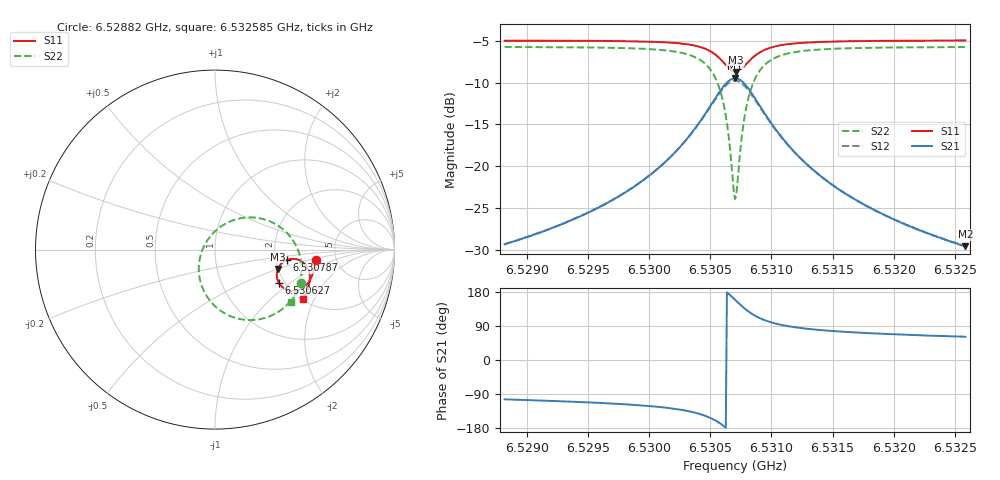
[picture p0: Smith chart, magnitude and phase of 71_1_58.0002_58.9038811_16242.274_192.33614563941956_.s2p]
#  HZ  S  RI  R  50.00
! Rohde & Schwarz Vector Network Analyzer
! Rohde-Schwarz,ZNB20-2Port,1311601062101988,3.16
! Created: UTC 3/21/2024, 12:53:24 AM
! freq[Hz]  re:S11  im:S11  re:S21  im:S21  re:S12  im:S12  re:S22  im:S22
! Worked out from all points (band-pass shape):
!   401 points, 6.52882 GHz to 6.532585 GHz, reference 50 ohm
!   highest |S21| = -9.48 dB at 6.530703 GHz (marker M1); lowest = -29.6 dB at 6.532585 GHz (marker M2)
!   |S21| within 3 dB of the highest: 6.530515 GHz to 6.530892 GHz (377.1 kHz wide, 0.00577 % of centre)
!   lowest |S11| = -8.7 dB at 6.530712 GHz (marker M3), VSWR 2.16, Z = 99.7 - j25 ohm
!   |S11| at or under -10 dB: nowhere
!   |S22| runs from -23.9 to -5.7 dB; largest |S21 - S12| = 0.014
!   S11 on the Smith chart (normalised r, x): 6.52882 GHz: 3.48, -0.58; 6.530627 GHz: 1.87, -0.84; 6.530787 GHz: 2.29, -0.32; 6.532585 GHz: 2.04, -1.66
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6.5288197e9  0.5607 -0.0572  -0.00815 -0.0331  -0.0089 -0.033  0.4817 -0.1879
6.5294504e9  0.5512 -0.1116  -0.0183 -0.047  -0.0194 -0.0468  0.4491 -0.25
6.5298082e9  0.5401 -0.1467  -0.0318 -0.0621  -0.0334 -0.0615  0.414 -0.2956
6.5300812e9  0.5236 -0.1787  -0.0545 -0.0814  -0.057 -0.0798  0.3619 -0.3406
6.5303072e9  0.494 -0.2107  -0.1005 -0.104  -0.1038 -0.1004  0.2691 -0.3834
6.5304672e9  0.4452 -0.23  -0.1784 -0.1103  -0.1809 -0.1024  0.1267 -0.3843
6.5305614e9  0.3949 -0.2213  -0.2567 -0.0772  -0.2552 -0.0658  -0.00295 -0.3123
6.5306273e9  0.3576 -0.1874  -0.311 -0.00711  -0.3032 0.00409  -0.0797 -0.1838
6.5306555e9  0.3472 -0.1638  -0.323 0.0373  -0.3125 0.0466  -0.0904 -0.1079
6.5306837e9  0.3443 -0.1363  -0.3222 0.0868  -0.3098 0.0931  -0.0791 -0.027
6.5307026e9  0.3474 -0.1176  -0.3135 0.1195  -0.3006 0.1236  -0.0584 0.025
6.530712e9  0.3501 -0.1085  -0.3068 0.1353  -0.2938 0.1381  -0.0444 0.0492
6.5307214e9  0.3541 -0.0999  -0.2986 0.1502  -0.2857 0.1518  -0.028 0.0719
6.5307591e9  0.377 -0.0715  -0.254 0.1982  -0.2431 0.196  0.054 0.1419
6.5307873e9  0.3986 -0.0585  -0.2145 0.2196  -0.2058 0.216  0.123 0.1703
6.5308532e9  0.4473 -0.0523  -0.1289 0.2293  -0.1247 0.2253  0.2675 0.1705
6.5309473e9  0.4922 -0.0726  -0.0525 0.1985  -0.0506 0.1963  0.392 0.1015
6.5310886e9  0.5196 -0.11  -0.0056 0.1473  -0.00437 0.1466  0.4625 -0.00266
6.5313333e9  0.5285 -0.1566  0.015 0.0949  0.0161 0.0945  0.4826 -0.112
6.5315969e9  0.5249 -0.1907  0.0186 0.0665  0.0195 0.0662  0.4748 -0.1774
6.5319641e9  0.5147 -0.2271  0.0182 0.0459  0.019 0.0457  0.457 -0.2332
6.5325855e9  0.4929 -0.2767  0.016 0.0291  0.0164 0.0288  0.4247 -0.2936
